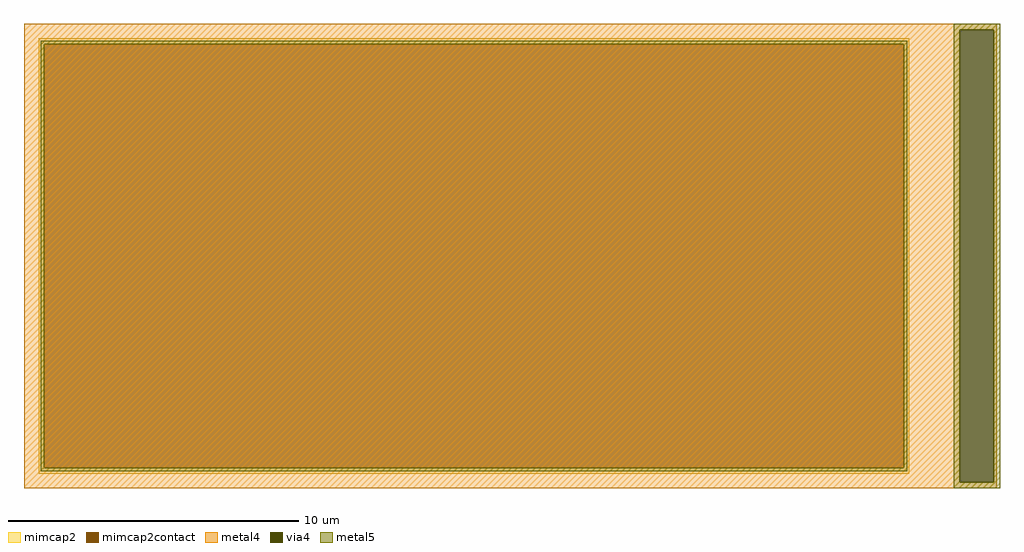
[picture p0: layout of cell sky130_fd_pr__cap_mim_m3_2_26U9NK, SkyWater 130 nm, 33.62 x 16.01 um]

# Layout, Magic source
magic
tech sky130A
magscale 1 2
<< metal4 >>
rect -3351 1559 3351 1600
rect -3351 -1559 3095 1559
rect 3331 -1559 3351 1559
rect -3351 -1600 3351 -1559
<< via4 >>
rect 3095 -1559 3331 1559
<< mimcap2 >>
rect -3251 1460 2749 1500
rect -3251 -1460 -3211 1460
rect 2709 -1460 2749 1460
rect -3251 -1500 2749 -1460
<< mimcap2contact >>
rect -3211 -1460 2709 1460
<< metal5 >>
rect 3053 1559 3373 1601
rect -3235 1460 2733 1484
rect -3235 -1460 -3211 1460
rect 2709 -1460 2733 1460
rect -3235 -1484 2733 -1460
rect 3053 -1559 3095 1559
rect 3331 -1559 3373 1559
rect 3053 -1601 3373 -1559
<< properties >>
string FIXED_BBOX -3351 -1600 2849 1600
string gencell sky130_fd_pr__cap_mim_m3_2
string library sky130
string parameters w 30 l 15 val 917.1 carea 2.00 cperi 0.19 nx 1 ny 1 dummy 0 square 0 lmin 2.00 wmin 2.00 lmax 30.0 wmax 30.0 dc 0 bconnect 1 tconnect 1 ccov 100
<< end >>
